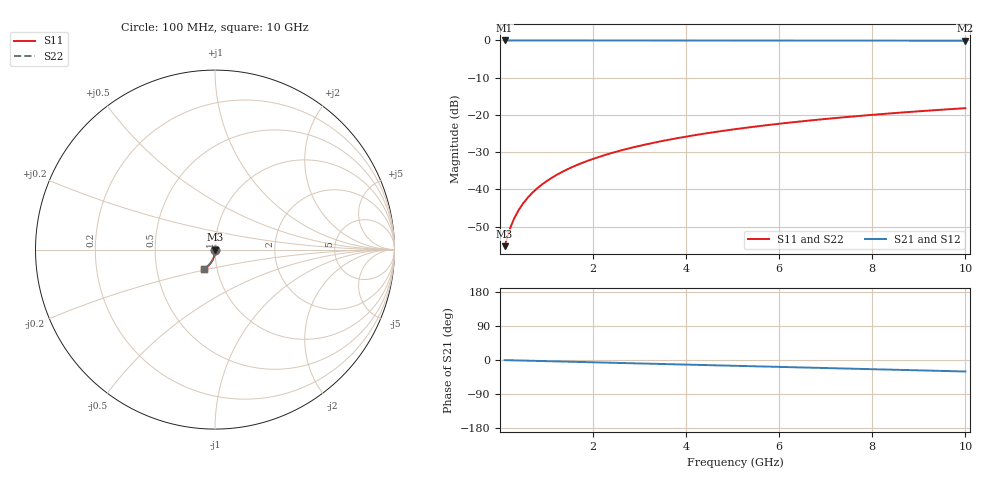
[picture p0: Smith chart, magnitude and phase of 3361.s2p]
# Hz S RI R 50.00
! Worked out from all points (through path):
!   100 points, 100 MHz to 10 GHz, reference 50 ohm
!   highest |S21| = -0.01 dB at 100 MHz (marker M1); lowest = -0.1 dB at 10 GHz (marker M2)
!   group delay of S21, straight-line fit = 8.43 ps
!   lowest |S11| = -55.2 dB at 100 MHz (marker M3), VSWR 1.00, Z = 50.1 - j0.129 ohm
!   |S11| at or under -10 dB: start of sweep to end of sweep
!   |S22| runs from -55.2 to -18.2 dB; largest |S21 - S12| = 0
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1e8  0.00116 -0.00129  0.9988 -0.00528  0.9988 -0.00528  0.00116 -0.00129
2e8  0.00114 -0.00258  0.9988 -0.0106  0.9988 -0.0106  0.00114 -0.00258
3e8  0.00111 -0.00387  0.9987 -0.0158  0.9987 -0.0158  0.00111 -0.00387
4e8  0.00106 -0.00516  0.9986 -0.0211  0.9986 -0.0211  0.00106 -0.00516
5e8  0.001 -0.00645  0.9984 -0.0264  0.9984 -0.0264  0.001 -0.00645
6e8  0.00093 -0.00774  0.9983 -0.0316  0.9983 -0.0316  0.00093 -0.00774
7e8  0.000842 -0.00903  0.9981 -0.0369  0.9981 -0.0369  0.000842 -0.00903
8e8  0.00074 -0.0103  0.9978 -0.0422  0.9978 -0.0422  0.00074 -0.0103
9e8  0.000624 -0.0116  0.9976 -0.0475  0.9976 -0.0475  0.000624 -0.0116
1.1e9  0.000351 -0.0142  0.997 -0.058  0.997 -0.058  0.000351 -0.0142
1.4e9  -0.000161 -0.018  0.9958 -0.0738  0.9958 -0.0738  -0.000161 -0.018
1.8e9  -0.00103 -0.0231  0.9939 -0.0948  0.9939 -0.0948  -0.00103 -0.0231
2.1e9  -0.00183 -0.0269  0.9922 -0.1106  0.9922 -0.1106  -0.00183 -0.0269
2.5e9  -0.00308 -0.0319  0.9895 -0.1315  0.9895 -0.1315  -0.00308 -0.0319
2.9e9  -0.00454 -0.0369  0.9863 -0.1524  0.9863 -0.1524  -0.00454 -0.0369
3.4e9  -0.00666 -0.0431  0.9816 -0.1784  0.9816 -0.1784  -0.00666 -0.0431
4.2e9  -0.0107 -0.0526  0.9727 -0.2197  0.9727 -0.2197  -0.0107 -0.0526
5.1e9  -0.0162 -0.0629  0.9604 -0.2656  0.9604 -0.2656  -0.0162 -0.0629
5.9e9  -0.022 -0.0716  0.9476 -0.3058  0.9476 -0.3058  -0.022 -0.0716
6.7e9  -0.0284 -0.0798  0.933 -0.3454  0.933 -0.3454  -0.0284 -0.0798
8.4e9  -0.0442 -0.0952  0.8963 -0.4271  0.8963 -0.4271  -0.0442 -0.0952
1e10  -0.0614 -0.1069  0.855 -0.5004  0.855 -0.5004  -0.0614 -0.1069
